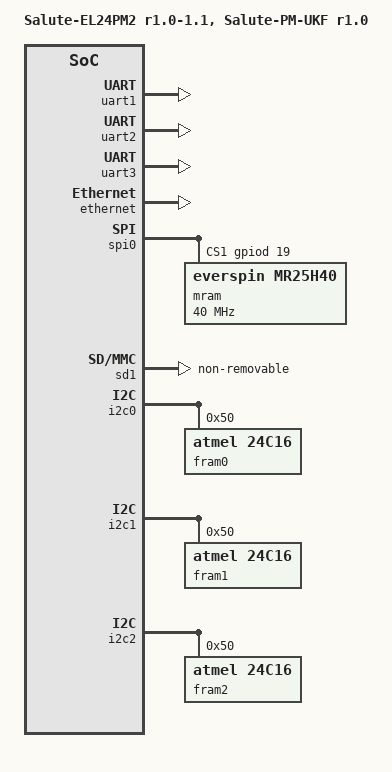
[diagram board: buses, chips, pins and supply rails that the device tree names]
/* Copyright 2018 RnD Center "ELVEES", JSC */

/dts-v1/;

#include "mcom02-salute-el24pm2-r1.0.dtsi"

/ {
	model = "Salute-EL24PM2 r1.0-1.1, Salute-PM-UKF r1.0";

	aliases {
		spi0 = &spi0;
	};
};

&uart1 {
	status = "okay";
};

&uart2 {
	status = "okay";
};

&uart3 {
	status = "okay";
};

&ethernet {
	status = "okay";
};

&spi0 {
	num-cs = <2>;
	/* Third argument of "cs-gpios" property is set to 0,
	* because it is ignored by the SPI driver. */
	cs-gpios = <&gpiod 18 0>, <&gpiod 19 0>;

	mram: mram@1 {
		#address-cells = <1>;
		compatible = "everspin,mr25h40", "spi-flash";
		reg = <0x1>;
		spi-max-frequency = <40000000>;
	};
};

&sd1 {
	status = "okay";
	non-removable;
};

&i2c0 {
	fram0: fram0@50 {
		#address-cells = <1>;
		#size-cells = <1>;
		compatible = "atmel,24c16", "i2c-eeprom";
		reg = <0x50>;
	};
};

&i2c1 {
	fram1: fram1@50 {
		#address-cells = <1>;
		#size-cells = <1>;
		compatible = "atmel,24c16", "i2c-eeprom";
		reg = <0x50>;
	};
};

&i2c2 {
	fram2: fram2@50 {
		#address-cells = <1>;
		#size-cells = <1>;
		compatible = "atmel,24c16", "i2c-eeprom";
		reg = <0x50>;
	};
};
